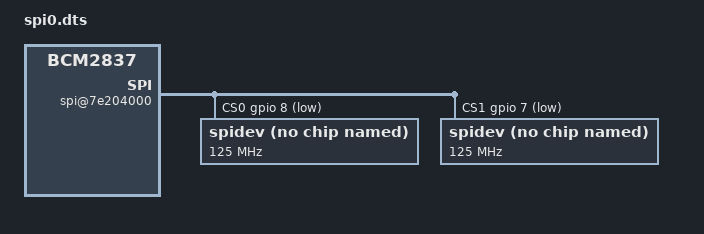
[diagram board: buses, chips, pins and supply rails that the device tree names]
/*
 * Enable SPI0 on the BCM2837 (Pi Zero 2 W) for use with the Waveshare
 * 2.13" e-ink display.
 *
 * Arch Linux ARM aarch64 ships upstream Linux DTBs, which leave the SPI
 * controller disabled and — unlike Raspberry Pi OS's vendor DTBs — provide
 * no `dtparam=spi=on`-style hook to enable it from config.txt. This
 * overlay does the equivalent: enables the controller, muxes the SPI data
 * pins (MOSI/MISO/SCLK), declares CE0/CE1 as GPIO chip-selects so the
 * driver can assert/deassert them properly, and exposes /dev/spidev0.0 and
 * /dev/spidev0.1 via the userspace `spidev` driver.
 *
 * Apply with:
 *   dtc -@ -I dts -O dtb -o spi0.dtbo spi0.dts
 *   fdtoverlay -i <base>.dtb -o <merged>.dtb spi0.dtbo
 *
 * The base DTB must have been built with -@ (symbols). The upstream
 * BCM283x DTBs shipped by Arch are. Verify with:
 *   ls /proc/device-tree/__symbols__/
 */

/dts-v1/;
/plugin/;

/ {
	compatible = "brcm,bcm2837";

	/*
	 * Upstream Linux's BCM283x DTB has a `gpio@7e200000/alt0` hog node
	 * that statically pre-claims GPIOs 4, 5, 7, 8, 9, 10, 11 in ALT0
	 * mode at boot. The parent gpio controller's `pinctrl-0` references
	 * the hog by phandle, so simply setting status="disabled" on the
	 * hog has no effect (pinctrl hogs ignore status). The SPI driver
	 * then can't grab GPIOs 7-11 ("pin already requested by
	 * 3f200000.gpio") and probe fails.
	 *
	 * Shrink the hog's `brcm,pins` list down to {4, 5} so it stops
	 * claiming the SPI pins. We can't *remove* pins from a property in
	 * an overlay — only replace it whole — so just rewrite the array.
	 */
	fragment@0 {
		target-path = "/soc/gpio@7e200000/alt0";
		__overlay__ {
			brcm,pins = <4 5>;
		};
	};

	/*
	 * The upstream DTB defines `spi0_gpio7` as a pinctrl group for all
	 * five SPI pins (7, 8, 9, 10, 11) in ALT0 mode. If we reference
	 * that group for the controller's pinctrl-0 *and* add cs-gpios, the
	 * kernel sees a double-claim on 7 & 8 (both pinctrl alt0 function
	 * and gpio chip-select) and the SPI probe fails.
	 *
	 * Fix: define our own `spi0_pins` pinctrl group that only muxes the
	 * data/clock pins (9=MISO, 10=MOSI, 11=SCLK) into ALT0.  Pins 7 &
	 * 8 stay in their default GPIO state and are driven by the SPI
	 * driver via cs-gpios, which correctly toggles CE0 between frames.
	 */
	fragment@1 {
		target = <&gpio>;
		__overlay__ {
			spi0_pins: spi0_pins {
				brcm,pins = <9 10 11>;
				brcm,function = <4>;  /* BCM2835_FSEL_ALT0 */
			};
		};
	};

	fragment@2 {
		target-path = "/soc/spi@7e204000";
		__overlay__ {
			status = "okay";
			pinctrl-names = "default";
			pinctrl-0 = <&spi0_pins>;
			cs-gpios = <&gpio 8 1>, <&gpio 7 1>;
			#address-cells = <1>;
			#size-cells = <0>;

			/*
			 * "spidev" as a DT compatible triggers a kernel
			 * warning ("buggy DT: spidev listed directly in DT").
			 * Use the rohm,dh2228fv shim that the official
			 * Raspberry Pi spi0 overlay also uses — the spidev
			 * driver matches this compatible without complaining.
			 */
			spidev@0 {
				compatible = "rohm,dh2228fv";
				reg = <0>;
				spi-max-frequency = <125000000>;
			};

			spidev@1 {
				compatible = "rohm,dh2228fv";
				reg = <1>;
				spi-max-frequency = <125000000>;
			};
		};
	};
};
